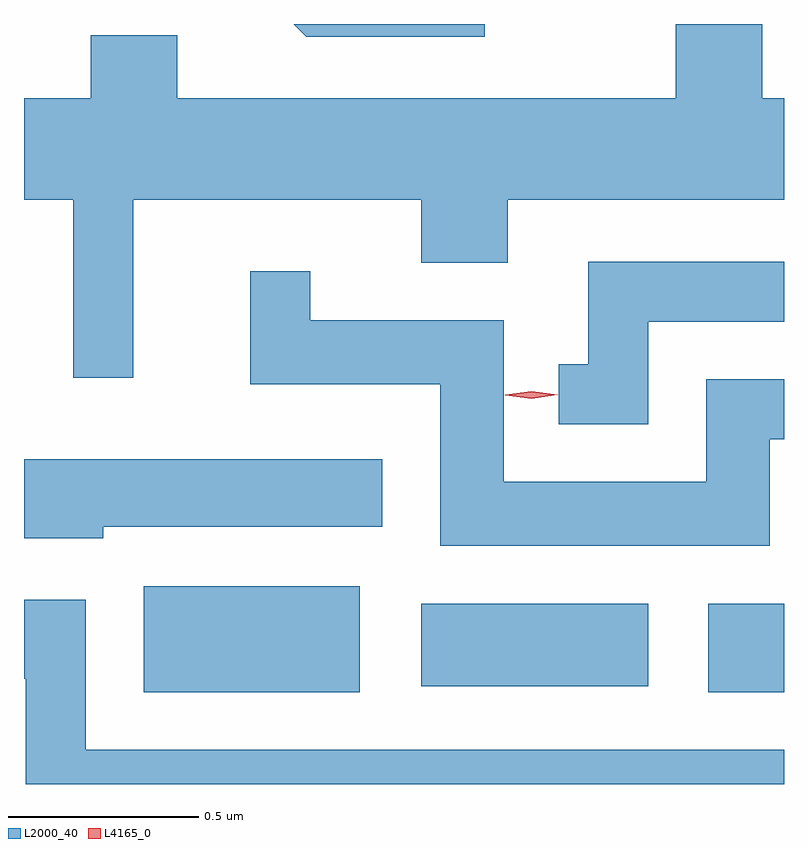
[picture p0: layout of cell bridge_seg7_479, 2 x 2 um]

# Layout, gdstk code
import gdstk
lib = gdstk.Library(unit=1e-6, precision=1e-09)
def R(c, l, rs):  # rectangles x0, y0, x1, y1
    for r in rs: c.add(gdstk.rectangle(r[:2], r[2:], *l))
def P(c, l, *ps):  # polygons
    for p in ps: c.add(gdstk.Polygon(p, *l))
L2000_40 = (2000, 40)
L4165_0 = (4165, 0)

bridge_seg7_479 = lib.new_cell('bridge_seg7_479')
R(bridge_seg7_479, L2000_40, [(1076.251,1695.261,1076.819,1695.539), (1077.736,1695.261,1077.936,1695.494), (1076.981,1695.276,1077.579,1695.494)])
P(bridge_seg7_479, L2000_40, [(1076.224,1696.556),(1076.981,1696.556),(1076.981,1696.391),(1077.209,1696.391),(1077.209,1696.556),(1077.936,1696.556),(1077.936,1696.824),(1077.879,1696.824),(1077.879,1697.019),(1077.651,1697.019),(1077.651,1696.824),(1076.339,1696.824),(1076.339,1696.989),(1076.111,1696.989),(1076.111,1696.824),(1075.936,1696.824),(1075.936,1696.556),(1076.066,1696.556),(1076.066,1696.088),(1076.224,1696.088)],
  [(1077.148,1697.019),(1076.646,1697.019),(1076.679,1696.986),(1077.148,1696.986)],
  [(1077.579,1696.236),(1077.936,1696.236),(1077.936,1696.394),(1077.421,1696.394),(1077.421,1696.124),(1077.343,1696.124),(1077.343,1695.966),(1077.579,1695.966)],
  [(1077.899,1695.926),(1077.936,1695.926),(1077.936,1696.084),(1077.731,1696.084),(1077.731,1695.814),(1077.199,1695.814),(1077.199,1696.239),(1076.689,1696.239),(1076.689,1696.368),(1076.531,1696.368),(1076.531,1696.071),(1077.031,1696.071),(1077.031,1695.646),(1077.899,1695.646)],
  [(1076.144,1695.696),(1076.879,1695.696),(1076.879,1695.874),(1075.936,1695.874),(1075.936,1695.666),(1076.144,1695.666)],
  [(1077.936,1695.109),(1076.099,1695.109),(1076.099,1695.504),(1075.936,1695.504),(1075.936,1695.296),(1075.941,1695.296),(1075.941,1695.019),(1077.936,1695.019)])
P(bridge_seg7_479, L4165_0, [(1077.272,1696.033),(1077.202,1696.042),(1077.202,1696.043),(1077.202,1696.043),(1077.272,1696.053),(1077.341,1696.044),(1077.341,1696.043),(1077.341,1696.043)])

lib.write_gds('bridge_seg7_479.gds')
